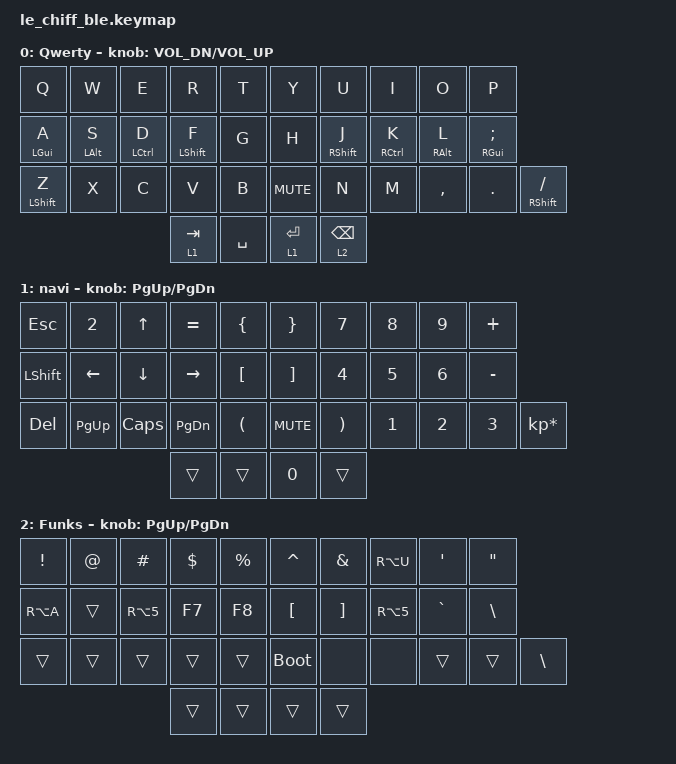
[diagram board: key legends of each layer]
/*
 * Copyright (c) 2021 @MangoIV
 *
 * SPDX-License-Identifier: MIT
 */

#include <behaviors.dtsi>
#include <dt-bindings/zmk/keys.h>

// makes it possible to hold backspace

&mt { quick_tap_ms = <200>; };

&lt { quick_tap_ms = <200>; };

/ {
    combos {
        compatible = "zmk,combos";

        combo_esc {
            bindings = <&kp ESCAPE>;
            key-positions = <0 1>;
        };
    };

    keymap {
        compatible = "zmk,keymap";

        default {
            label = "Qwerty";

            //  _____________________________       _____________________________
            // /  Q  |  W  |  E  |  R  |  T  \     /  Y  |  U  |  I  |  O  |  P  \
// |  A  |  S  |  D  |  F  |  G  | ___ |  H  |  J  |  K  |  L  |  ;  |
            // |Sft/Z|  X  |  C  |  V  |  B  ||MUT||  N  |  M  |  ,  |  .  |Sft//|
            //         \LSup/Bspc|  Ctl/SPC  /     \  Num/Del  | Sym/Ent /
            //          ---------------------       --------------------

            bindings = <
&kp Q           &kp W           &kp E        &kp R             &kp T      &kp Y       &kp U            &kp I        &kp O            &kp P
&mt LEFT_GUI A  &mt LEFT_ALT S  &mt LCTRL D  &mt LEFT_SHIFT F  &kp G      &kp H       &mt RSHFT J      &mt RCTRL K  &mt RIGHT_ALT L  &mt RIGHT_GUI SEMI
&mt LSHFT Z     &kp X           &kp C        &kp V             &kp B      &kp C_MUTE  &kp N            &kp M        &kp COMMA        &kp DOT             &mt RSHFT FSLH
                                             &lt 1 TAB         &kp SPACE  &lt 1 RET   &lt 2 BACKSPACE
            >;

            sensor-bindings = <&inc_dec_kp C_VOL_DN C_VOL_UP>;
        };

        nav {
            label = "navi";

            //  _____________________________       _____________________________
            // /  1  |  2  |  3  |  4  |  5  \     /  6  |  7  |  8  |  9  |  0  \
// | TAB |BTPRV|BTNXT| VOL-| VOL+| ___ |  <  |  v  |  ^  |  >  |  '  |
            // | Sft |BTSL0|BTCLR| MUT |     ||CPS|| HOME| END | PGUP| PGDN| Sft |
            //         \  LGUI   |    Ctl    /     \   Trns    |         /
            //          ---------------------       --------------------

            bindings = <
&kp ESCAPE      &kp N2          &kp UP_ARROW    &kp EQUAL      &kp LEFT_BRACE        &kp RIGHT_BRACE    &kp N7                 &kp N8        &kp N9        &kp PLUS
&kp LEFT_SHIFT  &kp LEFT_ARROW  &kp DOWN_ARROW  &kp RIGHT      &kp LEFT_BRACKET      &kp RIGHT_BRACKET  &kp NUMBER_4           &kp N5        &kp NUMBER_6  &kp MINUS
&kp DELETE      &kp PG_UP       &kp CLCK        &kp PAGE_DOWN  &kp LEFT_PARENTHESIS  &kp C_MUTE         &kp RIGHT_PARENTHESIS  &kp NUMBER_1  &kp NUMBER_2  &kp NUMBER_3  &kp KP_MULTIPLY
                                                &trans         &trans                &kp N0             &trans
            >;

            sensor-bindings = <&inc_dec_kp PG_UP PG_DN>;
        };

        symbols {
            label = "Funks";

            //  _____________________________       _____________________________
            // / ESC | F1  | F2  | F3  | F4  \     / USB | BLE |     |  =  |  -  \
// |     | F5  | F6  | F7  | F8  | ___ |  [  |  ]  |     |  `  |  \  |
            // | Sft | F9  | F10 | F11 | F12 ||   ||     |     |     |     | Sft |
            //         \  LAlt   |    Ctl    /     \           | Trns    /
            //          ---------------------       --------------------

            bindings = <
&kp EXCLAMATION  &kp AT  &kp POUND   &kp DOLLAR  &kp PERCENT  &kp CARET    &kp AMPS  &kp RA(U)   &kp SINGLE_QUOTE  &kp DOUBLE_QUOTES
&kp RA(A)        &trans  &kp RA(N5)  &kp F7      &kp F8       &kp LBKT     &kp RBKT  &kp RA(N5)  &kp GRAVE         &kp BSLH
&trans           &trans  &trans      &trans      &trans       &bootloader  &none     &none       &trans            &trans             &kp BACKSLASH
                                     &trans      &trans       &trans       &trans
            >;

            sensor-bindings = <&inc_dec_kp PG_UP PG_DN>;
        };
    };
};
